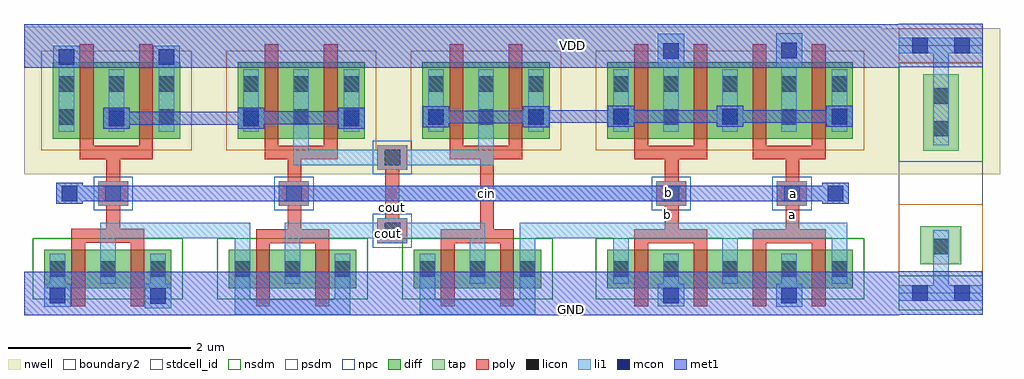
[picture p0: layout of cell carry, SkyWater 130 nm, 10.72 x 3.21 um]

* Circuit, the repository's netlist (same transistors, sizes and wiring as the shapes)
** sch_path: /home/joyen/ee5311/EE5311/assignments/assignment7/carry.sch
.subckt carry VDD a b cin cout GND
*.PININFO cout:O a:I VDD:B GND:B b:I cin:I
XM1 cout cin net3 GND sky130_fd_pr__nfet_01v8 L=0.15 W=0.84 nf=2
XM2 net1 b VDD VDD sky130_fd_pr__pfet_01v8 L=0.15 W=1.68 nf=4
XM3 net3 a GND GND sky130_fd_pr__nfet_01v8 L=0.15 W=0.84 nf=2
XM4 cout cin net1 VDD sky130_fd_pr__pfet_01v8 L=0.15 W=1.68 nf=4
XM5 net1 a VDD VDD sky130_fd_pr__pfet_01v8 L=0.15 W=1.68 nf=4
XM6 net2 a VDD VDD sky130_fd_pr__pfet_01v8 L=0.15 W=1.68 nf=4
XM7 cout b net2 VDD sky130_fd_pr__pfet_01v8 L=0.15 W=1.68 nf=4
XM8 net3 b GND GND sky130_fd_pr__nfet_01v8 L=0.15 W=0.84 nf=2
XM9 cout b net4 GND sky130_fd_pr__nfet_01v8 L=0.15 W=0.84 nf=2
XM10 net4 a GND GND sky130_fd_pr__nfet_01v8 L=0.15 W=0.84 nf=2
.ends

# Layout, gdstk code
import gdstk
lib = gdstk.Library(unit=1e-6, precision=1e-09)
def R(c, l, rs):  # rectangles x0, y0, x1, y1
    for r in rs: c.add(gdstk.rectangle(r[:2], r[2:], *l))
def A(c, l, x, y, w, h, nx, ny, dx, dy):  # array of equal rectangles
    R(c, l, [(x+i*dx, y+j*dy, x+i*dx+w, y+j*dy+h) for i in range(nx) for j in range(ny)])
nwell = (64, 20)
diff = (65, 20)
tap = (65, 44)
poly = (66, 20)
licon = (66, 44)
li1 = (67, 20)
mcon = (67, 44)
met1 = (68, 20)
stdcell_id = (81, 4)
nsdm = (93, 44)
psdm = (94, 20)
npc = (95, 20)
boundary2 = (236, 0)

tap_ = lib.new_cell('tap')
R(tap_, nwell, [(-0.19,1.305,1.11,2.91)])
R(tap_, tap, [(0.235,0.315,0.685,0.735), (0.265,1.565,0.655,2.405)])
R(tap_, licon, [(0.375,0.425,0.545,0.595), (0.375,1.72,0.545,1.89), (0.375,2.08,0.545,2.25)])
R(tap_, li1, [(0,-0.085,0.92,0.085), (0.375,0,0.545,0.69), (0.375,1.625,0.545,2.72), (0,2.635,0.92,2.805)])
R(tap_, mcon, [(0.145,-0.085,0.315,0.085), (0.605,-0.085,0.775,0.085), (0.145,2.635,0.315,2.805), (0.605,2.635,0.775,2.805)])
R(tap_, met1, [(0,-0.24,0.92,0.24), (0,2.48,0.92,2.96)])
R(tap_, stdcell_id, [(0,0,0.92,2.72)])
R(tap_, nsdm, [(0,-0.19,0.92,0.19), (0,1.44,0.92,2.53)])
R(tap_, psdm, [(0,0.19,0.92,0.975), (0,2.53,0.92,2.91)])
R(tap_, boundary2, [(0,0,0.92,2.72)])
tap_.add(gdstk.Label('tap', (0,0), layer=83, texttype=44))

pfet = lib.new_cell('pfet')
R(pfet, nwell, [(-0.315,-0.39,3.015,1.23)])
R(pfet, diff, [(0,0,2.7,0.84)])
A(pfet, poly, 0.3, -0.2, 0.15, 1.24, 4, 1, 0.65, 0)
A(pfet, licon, 0.615, 0.155, 0.17, 0.17, 3, 2, 0.65, 0.36)
R(pfet, licon, [(0.065,0.155,0.235,0.325), (2.465,0.155,2.635,0.325), (0.065,0.515,0.235,0.685), (2.465,0.515,2.635,0.685)])
A(pfet, li1, 0.615, 0.075, 0.17, 0.69, 3, 1, 0.65, 0)
R(pfet, li1, [(0.065,0.075,0.235,0.765), (2.465,0.075,2.635,0.765)])
R(pfet, psdm, [(-0.125,-0.125,2.825,0.965)])

pfet_1 = lib.new_cell('pfet$1')
R(pfet_1, nwell, [(-0.315,-0.39,1.715,1.23)])
R(pfet_1, diff, [(0,0,1.4,0.84)])
R(pfet_1, poly, [(0.3,-0.2,0.45,1.04), (0.95,-0.2,1.1,1.04)])
A(pfet_1, licon, 0.065, 0.155, 0.17, 0.17, 3, 2, 0.55, 0.36)
A(pfet_1, li1, 0.065, 0.075, 0.17, 0.69, 3, 1, 0.55, 0)
R(pfet_1, psdm, [(-0.125,-0.125,1.525,0.965)])

vias_gen = lib.new_cell('vias_gen')
R(vias_gen, li1, [(0,0,0.29,0.38)])
R(vias_gen, mcon, [(0.06,0.105,0.23,0.275)])
R(vias_gen, met1, [(0,0,0.29,0.38)])

vias_gen_1 = lib.new_cell('vias_gen$1')
R(vias_gen_1, li1, [(0,0,0.29,0.375)])
R(vias_gen_1, mcon, [(0.06,0.1,0.23,0.27)])
R(vias_gen_1, met1, [(0,0,0.29,0.375)])

vias_gen_2 = lib.new_cell('vias_gen$2')
R(vias_gen_2, li1, [(0,0,0.29,0.24)])
R(vias_gen_2, mcon, [(0.06,0.035,0.23,0.205)])
R(vias_gen_2, met1, [(0,0,0.29,0.24)])

vias_gen_6 = lib.new_cell('vias_gen$6')
R(vias_gen_6, poly, [(0,0,0.33,0.27)])
R(vias_gen_6, licon, [(0.08,0.05,0.25,0.22)])
R(vias_gen_6, li1, [(0,0,0.33,0.27)])
R(vias_gen_6, npc, [(-0.05,-0.05,0.38,0.32)])

vias_gen_7 = lib.new_cell('vias_gen$7')
R(vias_gen_7, li1, [(0,0,0.29,0.23)])
R(vias_gen_7, mcon, [(0.06,0.03,0.23,0.2)])
R(vias_gen_7, met1, [(0,0,0.29,0.23)])

vias_gen_3 = lib.new_cell('vias_gen$3')
R(vias_gen_3, li1, [(0,0,0.29,0.25)])
R(vias_gen_3, mcon, [(0.06,0.04,0.23,0.21)])
R(vias_gen_3, met1, [(0,0,0.29,0.25)])

vias_gen_5 = lib.new_cell('vias_gen$5')
R(vias_gen_5, li1, [(0,0,0.29,0.245)])
R(vias_gen_5, mcon, [(0.06,0.035,0.23,0.205)])
R(vias_gen_5, met1, [(0,0,0.29,0.245)])

vias_gen_4 = lib.new_cell('vias_gen$4')
R(vias_gen_4, li1, [(0,0,0.29,0.265)])
R(vias_gen_4, mcon, [(0.06,0.05,0.23,0.22)])
R(vias_gen_4, met1, [(0,0,0.29,0.265)])

nfet_1 = lib.new_cell('nfet$1')
R(nfet_1, diff, [(0,0,1.4,0.42)])
R(nfet_1, poly, [(0.3,-0.2,0.45,0.62), (0.95,-0.2,1.1,0.62)])
A(nfet_1, licon, 0.065, 0.125, 0.17, 0.17, 3, 1, 0.55, 0)
A(nfet_1, li1, 0.065, 0.045, 0.17, 0.33, 3, 1, 0.55, 0)
R(nfet_1, nsdm, [(-0.125,-0.125,1.525,0.545)])

nfet = lib.new_cell('nfet')
R(nfet, diff, [(0,0,2.7,0.42)])
A(nfet, poly, 0.3, -0.2, 0.15, 0.82, 4, 1, 0.65, 0)
A(nfet, licon, 0.615, 0.125, 0.17, 0.17, 3, 1, 0.65, 0)
R(nfet, licon, [(0.065,0.125,0.235,0.295), (2.465,0.125,2.635,0.295)])
A(nfet, li1, 0.615, 0.045, 0.17, 0.33, 3, 1, 0.65, 0)
R(nfet, li1, [(0.065,0.045,0.235,0.375), (2.465,0.045,2.635,0.375)])
R(nfet, nsdm, [(-0.125,-0.125,2.825,0.545)])

carry = lib.new_cell('carry')
carry.add(gdstk.FlexPath([(-4.625,-0.525),(-4.625,-0.27),(-6.655,-0.27),(-6.655,-0.525)], 0.17, ends="flush", simple_path=True, layer=67, datatype=20))  # li1
carry.add(gdstk.FlexPath([(-1.2,-0.855),(-1.2,-1.105)], 0.17, ends="flush", simple_path=True, layer=67, datatype=20))  # li1
carry.add(gdstk.FlexPath([(-1.2,1.505),(-1.2,1.9)], 0.17, ends="flush", simple_path=True, layer=67, datatype=20))  # li1
carry.add(gdstk.FlexPath([(-4.53,0.815),(-4.53,0.535),(-6.56,0.535),(-6.56,0.815)], 0.17, ends="flush", simple_path=True, layer=67, datatype=20))  # li1
carry.add(gdstk.FlexPath([(-2.5,1.505),(-2.5,1.895)], 0.17, ends="flush", simple_path=True, layer=67, datatype=20))  # li1
carry.add(gdstk.FlexPath([(-9.14,1.505),(-9.14,1.76)], 0.17, ends="flush", simple_path=True, layer=67, datatype=20))  # li1
carry.add(gdstk.FlexPath([(-8.04,1.505),(-8.04,1.76)], 0.17, ends="flush", simple_path=True, layer=67, datatype=20))  # li1
carry.add(gdstk.FlexPath([(-2.5,-0.855),(-2.5,-1.1)], 0.17, ends="flush", simple_path=True, layer=67, datatype=20))  # li1
carry.add(gdstk.FlexPath([(-8.135,-0.855),(-8.135,-1.12)], 0.17, ends="flush", simple_path=True, layer=67, datatype=20))  # li1
carry.add(gdstk.FlexPath([(-9.235,-0.855),(-9.235,-1.105)], 0.17, ends="flush", simple_path=True, layer=67, datatype=20))  # li1
carry.add(gdstk.FlexPath([(-5.175,-0.855),(-5.175,-1.11),(-4.075,-1.11),(-4.075,-0.855)], 0.17, ends="flush", simple_path=True, layer=67, datatype=20))  # li1
carry.add(gdstk.FlexPath([(-3.135,-0.265),(-4.075,-0.265),(-4.075,-0.525)], 0.17, ends="flush", simple_path=True, layer=67, datatype=20))  # li1
carry.add(gdstk.FlexPath([(-0.65,-0.525),(-0.65,-0.265),(-1.85,-0.265),(-1.85,-0.525)], 0.17, ends="flush", simple_path=True, layer=67, datatype=20))  # li1
carry.add(gdstk.FlexPath([(-1.935,-0.265),(-3.05,-0.265),(-3.05,-0.525)], 0.17, ends="flush", simple_path=True, layer=67, datatype=20))  # li1
carry.add(gdstk.FlexPath([(-7.205,-0.525),(-7.205,-0.27),(-8.685,-0.27),(-8.685,-0.525)], 0.17, ends="flush", simple_path=True, layer=67, datatype=20))  # li1
carry.add(gdstk.FlexPath([(-7.205,-0.855),(-7.205,-1.11),(-6.105,-1.11),(-6.105,-0.855)], 0.17, ends="flush", simple_path=True, layer=67, datatype=20))  # li1
carry.add(gdstk.FlexPath([(-1.255,0.14),(-0.605,0.14)], 0.17, ends="flush", simple_path=True, layer=67, datatype=20))  # li1
carry.add(gdstk.FlexPath([(-6.725,0.14),(-2.415,0.14)], 0.17, ends="flush", simple_path=True, layer=67, datatype=20))  # li1
carry.add(gdstk.FlexPath([(-8.54,0.14),(-9.2,0.14)], 0.17, ends="flush", simple_path=True, layer=67, datatype=20))  # li1
carry.add(gdstk.FlexPath([(-3.895,0.98),(-5.165,0.98)], 0.14, ends="flush", simple_path=True, layer=68, datatype=20))  # met1
carry.add(gdstk.FlexPath([(-3.895,0.985),(-0.565,0.985)], 0.14, ends="flush", simple_path=True, layer=68, datatype=20))  # met1
carry.add(gdstk.FlexPath([(-7.195,0.97),(-5.925,0.97)], 0.14, ends="flush", simple_path=True, layer=68, datatype=20))  # met1
carry.add(gdstk.FlexPath([(-7.025,0.965),(-8.675,0.965)], 0.14, ends="flush", simple_path=True, layer=68, datatype=20))  # met1
carry.add(gdstk.FlexPath([(0.005,-0.96),(-9.605,-0.96)], 0.48, ends="flush", simple_path=True, layer=68, datatype=20))  # met1
carry.add(gdstk.FlexPath([(0.005,1.76),(-9.15,1.76),(-9.605,1.76)], 0.48, ends="flush", simple_path=True, layer=68, datatype=20))  # met1
carry.add(gdstk.FlexPath([(-0.605,0.14),(-9.2,0.14)], 0.17, ends="flush", simple_path=True, layer=68, datatype=20))  # met1
carry.add(gdstk.FlexPath([(-0.875,-0.28),(-0.875,-0.255)], 0.15, ends="flush", simple_path=True, layer=66, datatype=20))  # poly
carry.add(gdstk.FlexPath([(-1.525,-0.28),(-1.525,-0.255)], 0.15, ends="flush", simple_path=True, layer=66, datatype=20))  # poly
carry.add(gdstk.FlexPath([(-1.45,-0.33),(-0.95,-0.33)], 0.15, ends="flush", simple_path=True, layer=66, datatype=20))  # poly
carry.add(gdstk.FlexPath([(-2.175,-0.28),(-2.175,-0.255)], 0.15, ends="flush", simple_path=True, layer=66, datatype=20))  # poly
carry.add(gdstk.FlexPath([(-2.825,-0.28),(-2.825,-0.255)], 0.15, ends="flush", simple_path=True, layer=66, datatype=20))  # poly
carry.add(gdstk.FlexPath([(-2.75,-0.33),(-2.25,-0.33)], 0.15, ends="flush", simple_path=True, layer=66, datatype=20))  # poly
carry.add(gdstk.FlexPath([(-4.3,-0.28),(-4.3,-0.255)], 0.15, ends="flush", simple_path=True, layer=66, datatype=20))  # poly
carry.add(gdstk.FlexPath([(-4.95,-0.28),(-4.95,-0.255)], 0.15, ends="flush", simple_path=True, layer=66, datatype=20))  # poly
carry.add(gdstk.FlexPath([(-6.33,-0.28),(-6.33,-0.255)], 0.15, ends="flush", simple_path=True, layer=66, datatype=20))  # poly
carry.add(gdstk.FlexPath([(-6.98,-0.28),(-6.98,-0.255)], 0.15, ends="flush", simple_path=True, layer=66, datatype=20))  # poly
carry.add(gdstk.FlexPath([(-8.36,-0.28),(-8.36,-0.25)], 0.15, ends="flush", simple_path=True, layer=66, datatype=20))  # poly
carry.add(gdstk.FlexPath([(-9.01,-0.28),(-9.01,-0.25)], 0.15, ends="flush", simple_path=True, layer=66, datatype=20))  # poly
carry.add(gdstk.FlexPath([(-4.875,-0.33),(-4.375,-0.33)], 0.15, ends="flush", simple_path=True, layer=66, datatype=20))  # poly
carry.add(gdstk.FlexPath([(-6.905,-0.33),(-6.405,-0.33)], 0.15, ends="flush", simple_path=True, layer=66, datatype=20))  # poly
carry.add(gdstk.FlexPath([(-8.935,-0.325),(-8.435,-0.325)], 0.15, ends="flush", simple_path=True, layer=66, datatype=20))  # poly
carry.add(gdstk.FlexPath([(-1.165,-0.28),(-1.165,0.54)], 0.15, ends="flush", simple_path=True, layer=66, datatype=20))  # poly
carry.add(gdstk.FlexPath([(-2.49,-0.28),(-2.49,0.54)], 0.15, ends="flush", simple_path=True, layer=66, datatype=20))  # poly
carry.add(gdstk.FlexPath([(-8.34,0.59),(-8.84,0.59)], 0.15, ends="flush", simple_path=True, layer=66, datatype=20))  # poly
carry.add(gdstk.FlexPath([(-8.265,0.54),(-8.265,0.515)], 0.15, ends="flush", simple_path=True, layer=66, datatype=20))  # poly
carry.add(gdstk.FlexPath([(-8.915,0.54),(-8.915,0.515)], 0.15, ends="flush", simple_path=True, layer=66, datatype=20))  # poly
carry.add(gdstk.FlexPath([(-6.31,0.59),(-6.81,0.59)], 0.15, ends="flush", simple_path=True, layer=66, datatype=20))  # poly
carry.add(gdstk.FlexPath([(-6.885,0.54),(-6.885,0.515)], 0.15, ends="flush", simple_path=True, layer=66, datatype=20))  # poly
carry.add(gdstk.FlexPath([(-6.235,0.54),(-6.235,0.515)], 0.15, ends="flush", simple_path=True, layer=66, datatype=20))  # poly
carry.add(gdstk.FlexPath([(-4.28,0.59),(-4.78,0.59)], 0.15, ends="flush", simple_path=True, layer=66, datatype=20))  # poly
carry.add(gdstk.FlexPath([(-4.205,0.54),(-4.205,0.515)], 0.15, ends="flush", simple_path=True, layer=66, datatype=20))  # poly
carry.add(gdstk.FlexPath([(-4.855,0.54),(-4.855,0.515)], 0.15, ends="flush", simple_path=True, layer=66, datatype=20))  # poly
carry.add(gdstk.FlexPath([(-2.25,0.59),(-2.75,0.59)], 0.15, ends="flush", simple_path=True, layer=66, datatype=20))  # poly
carry.add(gdstk.FlexPath([(-2.825,0.54),(-2.825,0.515)], 0.15, ends="flush", simple_path=True, layer=66, datatype=20))  # poly
carry.add(gdstk.FlexPath([(-2.175,0.54),(-2.175,0.515)], 0.15, ends="flush", simple_path=True, layer=66, datatype=20))  # poly
carry.add(gdstk.FlexPath([(-0.95,0.59),(-1.45,0.59)], 0.15, ends="flush", simple_path=True, layer=66, datatype=20))  # poly
carry.add(gdstk.FlexPath([(-0.875,0.54),(-0.875,0.515)], 0.15, ends="flush", simple_path=True, layer=66, datatype=20))  # poly
carry.add(gdstk.FlexPath([(-1.525,0.54),(-1.525,0.515)], 0.15, ends="flush", simple_path=True, layer=66, datatype=20))  # poly
carry.add(gdstk.FlexPath([(-4.52,-0.255),(-4.52,0.54)], 0.15, ends="flush", simple_path=True, layer=66, datatype=20))  # poly
carry.add(gdstk.FlexPath([(-5.56,0.62),(-5.56,-0.355)], 0.15, ends="flush", simple_path=True, layer=66, datatype=20))  # poly
carry.add(gdstk.FlexPath([(-6.635,-0.255),(-6.635,0.54)], 0.15, ends="flush", simple_path=True, layer=66, datatype=20))  # poly
carry.add(gdstk.FlexPath([(-8.625,-0.255),(-8.625,0.54)], 0.15, ends="flush", simple_path=True, layer=66, datatype=20))  # poly
carry.add(gdstk.Reference(tap_, (0.005,-0.955)))
carry.add(gdstk.Reference(pfet, (-3.2,0.74)))
carry.add(gdstk.Reference(pfet_1, (-7.26,0.74)))
carry.add(gdstk.Reference(pfet_1, (-5.23,0.74)))
carry.add(gdstk.Reference(pfet_1, (-9.29,0.74)))
carry.add(gdstk.Reference(vias_gen, (-1.345,1.52)))
carry.add(gdstk.Reference(vias_gen_1, (-2.645,1.52)))
carry.add(gdstk.Reference(vias_gen_2, (-9.285,1.52)))
carry.add(gdstk.Reference(vias_gen_2, (-8.185,1.52)))
carry.add(gdstk.Reference(vias_gen_6, (-8.79,0.005)))
carry.add(gdstk.Reference(vias_gen_7, (-9.25,0.025)))
carry.add(gdstk.Reference(vias_gen_6, (-5.725,0.4)))
carry.add(gdstk.Reference(vias_gen_6, (-6.805,0.005)))
carry.add(gdstk.Reference(vias_gen_7, (-0.835,0.025)))
carry.add(gdstk.Reference(vias_gen_6, (-1.335,0.005)))
carry.add(gdstk.Reference(vias_gen_6, (-2.66,0.005)))
carry.add(gdstk.Reference(vias_gen_7, (-7.255,0.85)))
carry.add(gdstk.Reference(vias_gen_7, (-8.735,0.85)))
carry.add(gdstk.Reference(vias_gen_7, (-6.155,0.85)))
carry.add(gdstk.Reference(vias_gen_7, (-5.225,0.865)))
carry.add(gdstk.Reference(vias_gen_7, (-4.125,0.865)))
carry.add(gdstk.Reference(vias_gen_7, (-3.195,0.87)))
carry.add(gdstk.Reference(vias_gen_7, (-1.995,0.87)))
carry.add(gdstk.Reference(vias_gen_7, (-0.795,0.87)))
carry.add(gdstk.Reference(vias_gen_6, (-5.725,-0.405)))
carry.add(gdstk.Reference(vias_gen_3, (-1.345,-1.105)))
carry.add(gdstk.Reference(vias_gen_5, (-2.645,-1.1)))
carry.add(gdstk.Reference(vias_gen_4, (-8.28,-1.12)))
carry.add(gdstk.Reference(vias_gen_3, (-9.38,-1.105)))
carry.add(gdstk.Reference(nfet_1, (-7.355,-0.9)))
carry.add(gdstk.Reference(nfet_1, (-9.385,-0.9)))
carry.add(gdstk.Reference(nfet_1, (-5.325,-0.9)))
carry.add(gdstk.Reference(nfet, (-3.2,-0.9)))
carry.add(gdstk.Label('GND', (-3.595,-1.13), layer=68, texttype=5))
carry.add(gdstk.Label('VDD', (-3.58,1.76), layer=68, texttype=5))
carry.add(gdstk.Label('a', (-1.165,-0.095), layer=66, texttype=5))
carry.add(gdstk.Label('b', (-2.535,-0.095), layer=66, texttype=5))
carry.add(gdstk.Label('cout', (-5.56,-0.015), layer=66, texttype=5))
carry.add(gdstk.Label('cin', (-4.52,0.135), layer=66, texttype=5))
carry.add(gdstk.Label('b', (-2.53,0.15), layer=66, texttype=5))
carry.add(gdstk.Label('a', (-1.15,0.135), layer=66, texttype=5))
carry.add(gdstk.Label('cout', (-5.605,-0.3), layer=67, texttype=5))

lib.write_gds('carry.gds')
